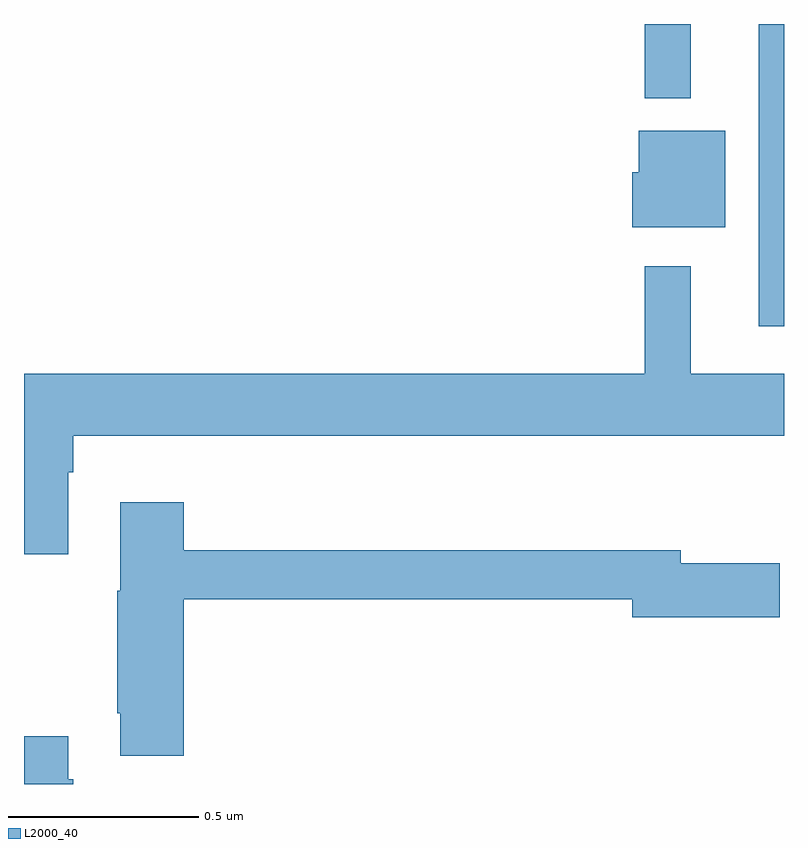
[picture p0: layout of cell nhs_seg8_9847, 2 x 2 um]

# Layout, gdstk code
import gdstk
lib = gdstk.Library(unit=1e-6, precision=1e-09)
def R(c, l, rs):  # rectangles x0, y0, x1, y1
    for r in rs: c.add(gdstk.rectangle(r[:2], r[2:], *l))
def P(c, l, *ps):  # polygons
    for p in ps: c.add(gdstk.Polygon(p, *l))
L2000_40 = (2000, 40)

nhs_seg8_9847 = lib.new_cell('nhs_seg8_9847')
R(nhs_seg8_9847, L2000_40, [(242.933,1134.105,243,1134.9), (242.634,1134.704,242.755,1134.9)])
P(nhs_seg8_9847, L2000_40, [(242.845,1134.619),(242.618,1134.619),(242.618,1134.51),(242.6,1134.51),(242.6,1134.365),(242.845,1134.365)],
  [(241.117,1133.72),(241.13,1133.72),(241.13,1133.816),(243,1133.816),(243,1133.98),(242.755,1133.98),(242.755,1134.262),(242.634,1134.262),(242.634,1133.98),(241,1133.98),(241,1133.505),(241.117,1133.505)],
  [(241.421,1133.386),(242.6,1133.386),(242.6,1133.339),(242.989,1133.339),(242.989,1133.481),(242.728,1133.481),(242.728,1133.515),(241.421,1133.515),(241.421,1133.641),(241.253,1133.641),(241.253,1133.409),(241.246,1133.409),(241.246,1133.086),(241.253,1133.086),(241.253,1132.974),(241.421,1132.974)],
  [(241.13,1132.913),(241.117,1132.913),(241.117,1133.026),(241,1133.026),(241,1132.9),(241.13,1132.9)])

lib.write_gds('nhs_seg8_9847.gds')
